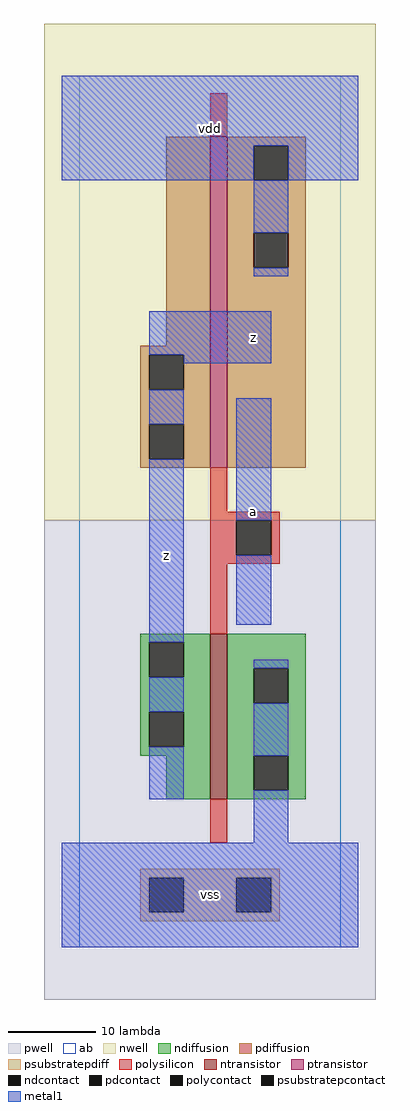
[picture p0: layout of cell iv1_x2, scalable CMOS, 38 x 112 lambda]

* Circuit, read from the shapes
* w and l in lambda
.subckt iv1_x2 a vdd vss z
M1 vss a z vss nfet w=19 l=2
M2 vdd a z n1 pfet w=38 l=2
.ends

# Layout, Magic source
magic
tech scmos
<< ab >>
rect 0 0 30 100
<< pwell >>
rect -4 -6 34 49
<< nwell >>
rect -4 49 34 106
<< polysilicon >>
rect 15 93 17 98
rect 15 50 17 55
rect 15 49 23 50
rect 15 45 18 49
rect 22 45 23 49
rect 15 44 23 45
rect 15 36 17 44
rect 15 12 17 17
<< ndiffusion >>
rect 7 35 15 36
rect 7 31 8 35
rect 12 31 15 35
rect 7 27 15 31
rect 7 23 8 27
rect 12 23 15 27
rect 7 22 15 23
rect 10 17 15 22
rect 17 32 26 36
rect 17 28 20 32
rect 24 28 26 32
rect 17 22 26 28
rect 17 18 20 22
rect 24 18 26 22
rect 17 17 26 18
<< pdiffusion >>
rect 10 69 15 93
rect 7 68 15 69
rect 7 64 8 68
rect 12 64 15 68
rect 7 60 15 64
rect 7 56 8 60
rect 12 56 15 60
rect 7 55 15 56
rect 17 92 26 93
rect 17 88 20 92
rect 24 88 26 92
rect 17 82 26 88
rect 17 78 20 82
rect 24 78 26 82
rect 17 55 26 78
<< metal1 >>
rect -2 92 32 100
rect -2 88 20 92
rect 24 88 32 92
rect 20 82 24 88
rect 20 77 24 78
rect 8 68 22 73
rect 12 67 22 68
rect 8 60 12 64
rect 8 35 12 56
rect 18 49 22 63
rect 18 37 22 45
rect 8 27 12 31
rect 8 17 12 23
rect 20 32 24 33
rect 20 22 24 28
rect 20 12 24 18
rect -2 0 32 12
<< ntransistor >>
rect 15 17 17 36
<< ptransistor >>
rect 15 55 17 93
<< polycontact >>
rect 18 45 22 49
<< ndcontact >>
rect 8 31 12 35
rect 8 23 12 27
rect 20 28 24 32
rect 20 18 24 22
<< pdcontact >>
rect 8 64 12 68
rect 8 56 12 60
rect 20 88 24 92
rect 20 78 24 82
<< psubstratepcontact >>
rect 8 4 12 8
rect 18 4 22 8
<< psubstratepdiff >>
rect 7 8 23 9
rect 7 4 8 8
rect 12 4 18 8
rect 22 4 23 8
rect 7 3 23 4
<< labels >>
rlabel metal1 10 45 10 45 6 z
rlabel metal1 10 45 10 45 6 z
rlabel metal1 15 6 15 6 6 vss
rlabel metal1 15 6 15 6 6 vss
rlabel metal1 20 50 20 50 6 a
rlabel metal1 20 50 20 50 6 a
rlabel metal1 20 70 20 70 6 z
rlabel metal1 20 70 20 70 6 z
rlabel metal1 15 94 15 94 6 vdd
rlabel metal1 15 94 15 94 6 vdd
<< end >>
